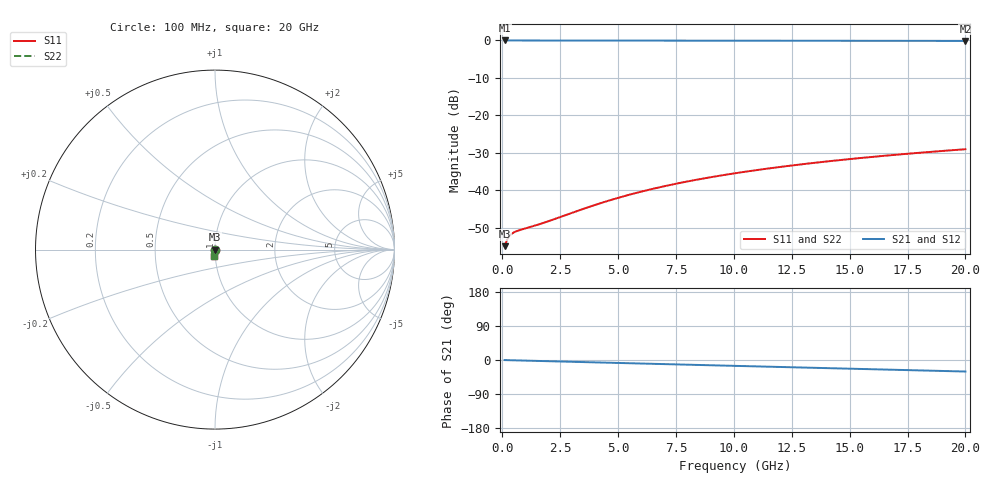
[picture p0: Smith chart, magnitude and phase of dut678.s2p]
! Touchstone file exported from HFSS 2026.1.0
!  File:  C:/ffzhzh/LocalFiles/Ansys_Project_Files/temp_train_TMRDL_678_1783010052_55676.aedt
!  Generated:  12:35:24 AM Jul  3, 2026
!  Design:  TMRDL
!  Project:  temp_train_TMRDL_678_1783010052_55676
! Variables:
!  h_bsmrdl = 2um
!  h_ox = 20um
!  h_rdl = 5um
!  h_sub = 80um
!  h_tmrdl = 4.67um
!  h_tsv = 80um
!  h_via = 3um
!  l_bsmrdl = 300um
!  l_sub = 937.74um
!  l_tmrdl = 537.74um
!  m_sub = 200um
!  pitch = 33.44um
!  r_tsv = 6um
!  s_tmrdl = 10um
!  w_bsmrdl = 18um
!  w_sub = 500um
!  w_tmrdl = 28.86um
!  x_tsv_center1 = 552.17um
!  x_tsv_center2 = 870.17um
!  x_tsv_center3 = 1436.77um
!  x_tsv_center4 = 1754.77um
!  x_tsv_center5 = 2321.37um
!  x_tsv_center6 = 2639.37um
# GHz S MA R 50.000000
! Terminal data exported
! Port[1] = TM_RDL1_1_T1
! Port[2] = TM_RDL1_1_T2
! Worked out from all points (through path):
!   200 points, 100 MHz to 20 GHz, reference 50 ohm
!   highest |S21| = -0.02 dB at 100 MHz (marker M1); lowest = -0.1 dB at 20 GHz (marker M2)
!   group delay of S21, straight-line fit = 4.21 ps
!   lowest |S11| = -54.9 dB at 100 MHz (marker M3), VSWR 1.00, Z = 50.2 + j0.0423 ohm
!   |S11| at or under -10 dB: start of sweep to end of sweep
!   |S22| runs from -54.9 to -29.1 dB; largest |S21 - S12| = 2.4e-15
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0.1  0.001794 13.6  0.9983 -0.2  0.9983 -0.2  0.001794 13.6
! Gamma 0 0 0 0
! Port Impedance 50 0 50 0
0.2  0.002171 15.5  0.9979 -0.4  0.9979 -0.4  0.002171 15.5
0.3  0.002445 13.0  0.9976 -0.5  0.9976 -0.5  0.002445 13.0
0.4  0.002622 9.8  0.9974 -0.7  0.9974 -0.7  0.002622 9.8
0.5  0.002742 6.8  0.9973 -0.8  0.9973 -0.8  0.002741 6.8
0.7  0.002904 2.0  0.9971 -1.1  0.9971 -1.1  0.002903 2.0
1.4  0.003365 -9.3  0.9966 -2.2  0.9966 -2.2  0.003363 -9.3
1.9  0.003777 -15.5  0.9963 -3.0  0.9963 -3.0  0.003774 -15.5
3.5  0.005644 -31.6  0.9949 -5.5  0.9949 -5.5  0.005637 -31.7
4.3  0.006812 -38.3  0.9942 -6.8  0.9942 -6.8  0.006801 -38.4
5.1  0.008079 -44.3  0.9935 -8.0  0.9935 -8.0  0.008065 -44.3
5.9  0.009415 -49.5  0.9928 -9.2  0.9928 -9.2  0.009397 -49.6
6.8  0.01097 -54.8  0.9921 -10.6  0.9921 -10.6  0.01095 -54.9
7.6  0.0124 -59.0  0.9915 -11.8  0.9915 -11.8  0.01237 -59.1
8.4  0.01384 -62.7  0.9909 -13.0  0.9909 -13.0  0.01381 -62.9
10.1  0.01695 -69.7  0.9899 -15.6  0.9899 -15.6  0.01691 -69.9
11.7  0.01992 -75.3  0.989 -18.0  0.989 -18.0  0.01987 -75.5
13.4  0.02309 -80.5  0.988 -20.5  0.988 -20.5  0.02303 -80.8
15  0.02607 -85.0  0.9872 -22.9  0.9872 -22.9  0.026 -85.3
16.7  0.02923 -89.3  0.9863 -25.5  0.9863 -25.5  0.02915 -89.7
18.3  0.03218 -93.1  0.9856 -27.9  0.9856 -27.9  0.03209 -93.5
20  0.03528 -97.0  0.9847 -30.4  0.9847 -30.4  0.03518 -97.4
